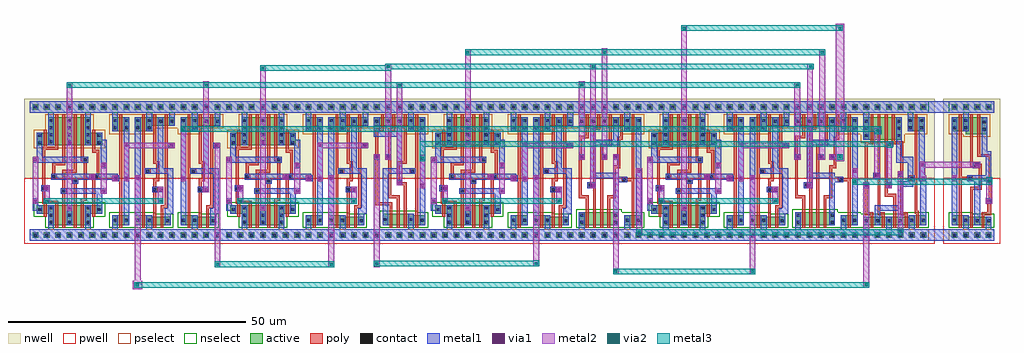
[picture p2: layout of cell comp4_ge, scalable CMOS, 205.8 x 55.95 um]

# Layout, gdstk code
import gdstk
lib = gdstk.Library(unit=1e-6, precision=1e-09)
def R(c, l, rs):  # rectangles x0, y0, x1, y1
    for r in rs: c.add(gdstk.rectangle(r[:2], r[2:], *l))
def A(c, l, x, y, w, h, nx, ny, dx, dy):  # array of equal rectangles
    R(c, l, [(x+i*dx, y+j*dy, x+i*dx+w, y+j*dy+h) for i in range(nx) for j in range(ny)])
contact = (25, 0)
pwell = (41, 0)
nwell = (42, 0)
active = (43, 0)
pselect = (44, 0)
nselect = (45, 0)
poly = (46, 0)
metal1 = (49, 0)
via1 = (50, 0)
metal2 = (51, 0)
via2 = (61, 0)
metal3 = (62, 0)

and2_1x = lib.new_cell('and2_1x')
A(and2_1x, contact, 0.3, -0.3, 0.6, 0.6, 4, 2, 2.4, 27)
R(and2_1x, contact, [(6.6,2.7,7.2,3.3), (0.3,2.85,0.9,3.45), (2.7,2.85,3.3,3.45), (3.9,9.3,4.5,9.9), (2.4,13.2,3,13.8), (7.2,18.6,7.8,19.2), (0.3,22.35,0.9,22.95), (2.7,22.35,3.3,22.95), (5.1,23.7,5.7,24.3), (7.5,23.7,8.1,24.3), (0.3,23.85,0.9,24.45), (2.7,23.85,3.3,24.45)])
A(and2_1x, pwell, -0.9, -1.5, 3, 3, 4, 1, 2.4, 0)
R(and2_1x, pwell, [(-1.8,-1.8,10.2,12), (-1.8,0.3,3,6), (-1.2,0.3,4.8,6), (0.6,0.3,5.4,6), (1.2,0.3,7.2,5.7), (2.7,0.3,8.7,5.7), (4.5,0.3,9.3,5.7), (2.325,0.75,7.575,5.25), (0.75,0.9,5.325,5.4), (4.575,0.9,9.15,5.4), (-1.65,1.35,2.925,5.85), (0.675,1.425,5.25,5.925)])
A(and2_1x, nwell, -0.9, 25.5, 3, 3, 4, 1, 2.4, 0)
R(and2_1x, nwell, [(-1.8,12,10.2,28.8), (-1.8,20.1,3,26.7), (-1.2,20.1,4.8,26.7), (0.6,20.1,5.4,26.7), (0.675,20.1,5.25,24.6), (-1.65,20.55,2.925,25.05), (0.75,21.3,5.325,25.8), (1.2,21.3,7.2,26.7), (3,21.3,7.8,26.7), (3.075,21.3,7.65,25.8), (3.15,21.3,7.65,26.7), (3.225,21.3,7.725,26.7), (3.6,21.3,9.6,26.7), (5.4,21.3,10.2,26.7), (3.15,22.2,7.725,26.7), (5.475,22.2,10.05,26.7)])
A(and2_1x, active, 0, -0.6, 1.2, 1.2, 4, 2, 2.4, 27)
R(and2_1x, active, [(0,2.1,1.2,4.2), (0.6,2.1,3,4.2), (2.4,2.1,3.6,4.2), (3,2.1,5.4,3.9), (4.5,2.1,6.9,3.9), (6.3,2.1,7.5,3.9), (4.125,2.55,5.775,3.45), (2.55,2.7,3.525,3.6), (6.375,2.7,7.35,3.6), (0.15,3.15,1.125,4.05), (2.475,3.225,3.45,4.125), (0,21.9,1.2,24.9), (0.6,21.9,3,24.9), (2.4,21.9,3.6,24.9), (2.475,21.9,3.45,22.8), (0.15,22.35,1.125,23.25), (2.55,23.1,3.525,24), (3,23.1,5.4,24.9), (4.8,23.1,6,24.9), (4.875,23.1,5.85,24), (4.95,23.1,5.85,24.9), (5.025,23.1,5.925,24.9), (5.4,23.1,7.8,24.9), (7.2,23.1,8.4,24.9), (4.95,24,5.925,24.9), (7.275,24,8.25,24.9)])
A(and2_1x, pselect, -0.6, -1.2, 2.4, 2.4, 4, 1, 2.4, 0)
R(and2_1x, pselect, [(-0.6,21.3,1.8,25.5), (0,21.3,3.6,25.5), (1.8,21.3,4.2,25.5), (1.875,21.3,4.05,23.4), (-0.45,21.75,1.725,23.85), (1.95,22.5,4.125,24.6), (2.4,22.5,6,25.5), (4.2,22.5,6.6,25.5), (4.275,22.5,6.45,24.6), (4.35,22.5,6.45,25.5), (4.425,22.5,6.525,25.5), (4.8,22.5,8.4,25.5), (6.6,22.5,9,25.5), (4.35,23.4,6.525,25.5), (6.675,23.4,8.85,25.5)])
A(and2_1x, nselect, -0.6, 25.8, 2.4, 2.4, 4, 1, 2.4, 0)
R(and2_1x, nselect, [(-0.6,1.5,1.8,4.8), (0,1.5,3.6,4.8), (1.8,1.5,4.2,4.8), (2.4,1.5,6,4.5), (3.9,1.5,7.5,4.5), (5.7,1.5,8.1,4.5), (3.525,1.95,6.375,4.05), (1.95,2.1,4.125,4.2), (5.775,2.1,7.95,4.2), (-0.45,2.55,1.725,4.65), (1.875,2.625,4.05,4.725)])
R(and2_1x, poly, [(1.5,1.5,2.1,4.8), (3.9,1.5,4.5,4.5), (5.4,1.5,6,4.5), (3.9,4.2,4.5,9.9), (5.4,4.2,6,6.3), (1.5,4.5,2.1,13.8), (5.4,5.7,6.9,6.3), (6.3,5.7,6.9,19.2), (3.6,9,4.8,10.2), (3.9,9.3,4.5,9.9), (3.9,9.3,4.5,12), (3.9,11.4,5.1,12), (4.5,11.4,5.1,15.6), (2.1,12.9,3.3,14.1), (1.5,13.2,2.1,21.6), (1.5,13.2,3,13.8), (3.9,15,4.5,22.8), (3.9,15,5.1,15.6), (6.9,18.3,8.1,19.5), (6.3,18.6,6.9,22.8), (6.3,18.6,7.8,19.2), (1.5,21.3,2.1,25.5), (3.9,22.5,4.5,25.5), (6.3,22.5,6.9,25.5)])
A(and2_1x, metal1, -0.6, -1.2, 4.8, 2.4, 3, 1, 2.4, 0)
A(and2_1x, metal1, 0, -0.6, 1.2, 1.2, 4, 2, 2.4, 27)
R(and2_1x, metal1, [(-0.6,-1.2,1.8,1.2), (-0.6,-1.2,4.2,1.2), (2.4,-0.6,3.6,3.3), (0,2.1,1.2,4.2), (2.4,2.1,3.6,4.2), (6.3,2.1,7.5,3.9), (6.3,2.7,7.5,5.7), (0,3,1.2,12.6), (6.3,4.5,8.1,5.7), (6.9,4.5,8.1,14.1), (3.6,9,4.8,10.2), (3.6,9,6,10.2), (4.8,9,6,10.2), (0,11.4,1.2,12.6), (0,11.4,1.2,23.1), (2.1,12.9,3.3,14.1), (2.1,12.9,6,14.1), (4.8,12.9,6,24.3), (4.8,12.9,8.1,14.1), (6.9,18.3,8.1,19.5), (6.9,18.3,8.1,19.5), (7.2,18.3,8.4,19.5), (0,21.9,1.2,24.9), (2.4,21.9,3.6,24.9), (4.8,23.1,6,24.9), (7.2,23.1,8.4,24.9), (2.4,23.7,3.6,27.6), (7.2,23.7,8.4,27.6), (-0.6,25.8,1.8,28.2), (-0.6,25.8,4.2,28.2), (1.8,25.8,9,28.2), (0,26.4,1.2,27.6), (4.8,26.4,8.4,27.6), (7.2,26.4,8.4,27.6)])
R(and2_1x, via1, [(5.1,9.3,5.7,9.9), (0.3,11.7,0.9,12.3), (7.5,18.6,8.1,19.2)])
R(and2_1x, metal2, [(4.8,9,6,10.2), (0,11.4,1.2,12.6), (7.2,18.3,8.4,19.5)])

and3_1x = lib.new_cell('and3_1x')
A(and3_1x, contact, 0.3, -0.3, 0.6, 0.6, 5, 2, 2.4, 27)
A(and3_1x, contact, 0.3, 23.7, 0.6, 0.6, 3, 1, 2.4, 0)
R(and3_1x, contact, [(9.9,2.85,10.5,3.45), (2.1,3,2.7,3.6), (7.5,3,8.1,3.6), (5.1,10.8,5.7,11.4), (5.1,10.8,5.7,11.4), (7.8,13.2,8.4,13.8), (0.3,16.2,0.9,16.8), (2.7,16.2,3.3,16.8), (7.5,22.35,8.1,22.95), (9.9,22.35,10.5,22.95), (7.5,23.85,8.1,24.45), (9.9,23.85,10.5,24.45)])
A(and3_1x, pwell, -0.9, -1.5, 3, 3, 5, 1, 2.4, 0)
A(and3_1x, pwell, 0.6, 0.3, 6, 6, 3, 1, 1.5, 0)
R(and3_1x, pwell, [(-1.8,-1.8,12.6,12), (0,0.3,4.8,6.3), (5.4,0.3,10.2,6.3), (6,0.3,12,6), (7.8,0.3,12.6,6), (5.55,0.45,10.125,4.95), (5.475,0.6,10.05,5.1), (0.15,0.75,4.725,5.25), (7.875,0.75,12.45,5.25), (1.725,1.05,6.975,5.55), (3.225,1.05,8.475,5.55)])
A(and3_1x, nwell, -1.8, 21.3, 4.8, 5.4, 3, 1, 2.4, 0)
A(and3_1x, nwell, -1.2, 21.3, 6, 5.4, 3, 1, 2.4, 0)
A(and3_1x, nwell, -0.9, 25.5, 3, 3, 5, 1, 2.4, 0)
R(and3_1x, nwell, [(-1.8,12,12.6,28.8), (5.4,20.1,10.2,26.7), (6,20.1,12,26.7), (7.8,20.1,12.6,26.7), (5.55,21.15,10.125,25.65), (7.875,21.15,12.45,25.65), (0.675,21.3,5.25,25.8), (3.15,21.45,7.725,25.95), (5.475,21.45,10.05,25.95), (-1.65,21.75,2.925,26.25), (0.75,21.75,5.325,26.25), (3.075,21.75,7.65,26.25)])
A(and3_1x, active, 0, -0.6, 1.2, 1.2, 5, 2, 2.4, 27)
A(and3_1x, active, 2.4, 2.1, 2.4, 2.4, 3, 1, 1.5, 0)
A(and3_1x, active, 0, 23.1, 1.2, 1.8, 3, 1, 2.4, 0)
A(and3_1x, active, 0.6, 23.1, 2.4, 1.8, 3, 1, 2.4, 0)
R(and3_1x, active, [(1.8,2.1,3,4.5), (7.2,2.1,8.4,4.5), (7.8,2.1,10.2,4.2), (9.6,2.1,10.8,4.2), (7.35,2.25,8.325,3.15), (7.275,2.4,8.25,3.3), (1.95,2.55,2.925,3.45), (9.675,2.55,10.65,3.45), (3.525,2.85,5.175,3.75), (5.025,2.85,6.675,3.75), (7.2,21.9,8.4,24.9), (7.8,21.9,10.2,24.9), (9.6,21.9,10.8,24.9), (7.35,22.95,8.325,23.85), (9.675,22.95,10.65,23.85), (2.475,23.1,3.45,24), (4.95,23.25,5.925,24.15), (7.275,23.25,8.25,24.15), (0.15,23.55,1.125,24.45), (2.55,23.55,3.525,24.45), (4.875,23.55,5.85,24.45)])
A(and3_1x, pselect, -0.6, -1.2, 2.4, 2.4, 5, 1, 2.4, 0)
A(and3_1x, pselect, -0.6, 22.5, 2.4, 3, 3, 1, 2.4, 0)
A(and3_1x, pselect, 0, 22.5, 3.6, 3, 3, 1, 2.4, 0)
R(and3_1x, pselect, [(6.6,21.3,9,25.5), (7.2,21.3,10.8,25.5), (9,21.3,11.4,25.5), (6.75,22.35,8.925,24.45), (9.075,22.35,11.25,24.45), (1.875,22.5,4.05,24.6), (4.35,22.65,6.525,24.75), (6.675,22.65,8.85,24.75), (-0.45,22.95,1.725,25.05), (1.95,22.95,4.125,25.05), (4.275,22.95,6.45,25.05)])
A(and3_1x, nselect, 1.8, 1.5, 3.6, 3.6, 3, 1, 1.5, 0)
A(and3_1x, nselect, -0.6, 25.8, 2.4, 2.4, 5, 1, 2.4, 0)
R(and3_1x, nselect, [(1.2,1.5,3.6,5.1), (6.6,1.5,9,5.1), (7.2,1.5,10.8,4.8), (9,1.5,11.4,4.8), (6.75,1.65,8.925,3.75), (6.675,1.8,8.85,3.9), (1.35,1.95,3.525,4.05), (9.075,1.95,11.25,4.05), (2.925,2.25,5.775,4.35), (4.425,2.25,7.275,4.35)])
A(and3_1x, poly, 3.3, 1.5, 0.6, 3.6, 3, 1, 1.5, 0)
A(and3_1x, poly, 1.5, 22.5, 0.6, 3, 3, 1, 2.4, 0)
R(and3_1x, poly, [(8.7,1.5,9.3,4.8), (8.7,4.5,9.3,13.8), (3.3,4.8,3.9,6.9), (4.8,4.8,5.4,8.4), (6.3,4.8,6.9,11.1), (0.3,6.3,0.9,16.8), (0.3,6.3,3.9,6.9), (3,7.8,3.6,16.8), (3,7.8,5.4,8.4), (4.8,10.5,6,11.7), (4.8,10.5,6,11.7), (5.1,10.5,6.9,11.1), (5.1,10.5,5.7,11.4), (4.8,10.8,5.7,11.4), (4.8,10.8,5.4,15.6), (5.1,10.8,5.7,11.4), (7.5,12.9,8.7,14.1), (7.8,13.2,9.3,13.8), (8.7,13.2,9.3,21.6), (8.7,13.2,9.3,13.8), (4.8,15,6.9,15.6), (6.3,15,6.9,22.8), (0,15.9,1.2,17.1), (2.4,15.9,3.6,17.1), (0.3,16.2,0.9,22.5), (2.7,16.2,3.6,16.8), (3,16.2,3.6,22.5), (8.7,21,9.3,21.6), (8.7,21.3,9.3,25.5), (0.3,21.9,2.1,22.5), (1.5,21.9,2.1,22.8), (3,21.9,4.5,22.5), (3.9,21.9,4.5,22.8)])
A(and3_1x, metal1, -0.6, -1.2, 4.8, 2.4, 4, 1, 2.4, 0)
A(and3_1x, metal1, 0, -0.6, 1.2, 1.2, 5, 1, 2.4, 0)
A(and3_1x, metal1, 0, 23.1, 1.2, 1.8, 3, 1, 2.4, 0)
A(and3_1x, metal1, 0, 26.4, 1.2, 1.2, 4, 1, 2.4, 0)
R(and3_1x, metal1, [(-0.6,-1.2,1.8,1.2), (-0.6,-1.2,4.2,1.2), (7.2,-0.6,8.4,3.15), (1.8,2.1,3,4.5), (7.2,2.1,8.4,4.5), (9.6,2.1,10.8,4.2), (9.6,3,10.8,4.2), (9.6,3,10.8,11.1), (1.8,3.3,3,14.1), (9.6,9.9,10.8,11.1), (9.6,9.9,10.8,21.15), (4.8,10.5,6,11.7), (4.8,10.5,6,11.7), (4.8,10.5,6,11.7), (4.95,10.65,5.85,11.55), (1.8,12.9,6,14.1), (4.8,12.9,8.7,14.1), (4.8,12.9,6,21.9), (7.5,12.9,8.7,14.1), (0,15.9,1.2,17.1), (0,15.9,1.2,17.1), (2.4,15.9,3.6,17.1), (2.4,15.9,3.6,17.1), (0.15,16.05,1.05,16.95), (2.55,16.05,3.45,16.95), (9.6,19.95,10.8,21.15), (9.6,19.95,10.8,23.1), (0,20.7,1.2,24.3), (0,20.7,6,21.9), (4.8,20.7,6,24.3), (7.2,21.9,8.4,24.9), (9.6,21.9,10.8,24.9), (2.4,23.7,3.6,27.6), (7.2,23.7,8.4,27.6), (-0.6,25.8,1.8,28.2), (-0.6,25.8,4.2,28.2), (1.8,25.8,9,28.2), (6.6,25.8,11.4,28.2), (0,26.4,1.2,27.6), (4.8,26.4,8.4,27.6), (7.2,26.4,8.4,27.6), (9.6,26.4,10.8,27.6), (9.6,26.4,10.8,27.6)])
R(and3_1x, via1, [(9.9,10.2,10.5,10.8), (5.1,10.8,5.7,11.4), (0.3,16.2,0.9,16.8), (2.7,16.2,3.3,16.8)])
R(and3_1x, metal2, [(9.6,9.9,10.8,11.1), (4.8,10.5,6,11.7), (0,15.9,1.2,17.1), (2.4,15.9,3.6,17.1)])

and4_1x = lib.new_cell('and4_1x')
A(and4_1x, contact, 0.3, -0.3, 0.6, 0.6, 6, 2, 2.4, 27)
A(and4_1x, contact, 0.3, 23.7, 0.6, 0.6, 4, 1, 2.4, 0)
R(and4_1x, contact, [(0.3,2.4,0.9,3), (7.5,2.4,8.1,3), (9.9,2.85,10.5,3.45), (12.3,2.85,12.9,3.45), (0.3,3.9,0.9,4.5), (7.5,3.9,8.1,4.5), (2.1,10.2,2.7,10.8), (9.3,11.4,9.9,12), (0.3,16.2,0.9,16.8), (5.1,16.2,5.7,16.8), (7.5,16.2,8.1,16.8), (9.9,22.35,10.5,22.95), (12.3,22.35,12.9,22.95), (9.9,23.85,10.5,24.45), (12.3,23.85,12.9,24.45)])
A(and4_1x, pwell, -0.9, -1.5, 3, 3, 6, 1, 2.4, 0)
A(and4_1x, pwell, -1.2, 0.3, 6, 6.3, 4, 1, 1.5, 0)
R(and4_1x, pwell, [(-1.8,-1.8,15,12), (-1.8,0.3,3,6.6), (5.4,0.3,10.2,6.6), (7.8,0.3,12.6,6), (8.4,0.3,14.4,6), (10.2,0.3,15,6), (7.8,0.9,12.525,5.4), (-1.575,1.05,3,5.55), (-0.075,1.2,5.175,5.7), (1.425,1.2,6.675,5.7), (2.925,1.35,8.175,5.85), (5.175,1.35,9.9,5.85), (10.275,1.35,15,5.85)])
A(and4_1x, nwell, -1.8, 21.3, 4.8, 5.4, 4, 1, 2.4, 0)
A(and4_1x, nwell, -1.2, 21.3, 6, 5.4, 4, 1, 2.4, 0)
A(and4_1x, nwell, -0.9, 25.5, 3, 3, 6, 1, 2.4, 0)
R(and4_1x, nwell, [(-1.8,12,15,28.8), (7.8,20.1,12.6,26.7), (8.4,20.1,14.4,26.7), (10.2,20.1,15,26.7), (10.275,21,14.85,25.5), (7.95,21.15,12.525,25.65), (7.875,21.6,12.45,26.1), (-1.65,21.75,2.925,26.25), (0.675,21.75,5.25,26.25), (3.075,21.75,7.65,26.25), (5.55,21.75,10.125,26.25), (0.75,22.05,5.325,26.55), (3.15,22.05,7.725,26.55), (5.475,22.05,10.05,26.55)])
A(and4_1x, active, 0, -0.6, 1.2, 1.2, 6, 2, 2.4, 27)
A(and4_1x, active, 0.6, 2.1, 2.4, 2.7, 4, 1, 1.5, 0)
A(and4_1x, active, 0, 23.1, 1.2, 1.8, 4, 1, 2.4, 0)
A(and4_1x, active, 0.6, 23.1, 2.4, 1.8, 4, 1, 2.4, 0)
R(and4_1x, active, [(0,2.1,1.2,4.8), (7.2,2.1,8.4,4.8), (9.6,2.1,10.8,4.2), (10.2,2.1,12.6,4.2), (12,2.1,13.2,4.2), (9.6,2.7,10.725,3.6), (0.225,2.85,1.2,3.75), (1.725,3,3.375,3.9), (3.225,3,4.875,3.9), (4.725,3.15,6.375,4.05), (6.975,3.15,8.1,4.05), (12.075,3.15,13.2,4.05), (9.6,21.9,10.8,24.9), (10.2,21.9,12.6,24.9), (12,21.9,13.2,24.9), (12.075,22.8,13.05,23.7), (9.75,22.95,10.725,23.85), (9.675,23.4,10.65,24.3), (0.15,23.55,1.125,24.45), (2.475,23.55,3.45,24.45), (4.875,23.55,5.85,24.45), (7.35,23.55,8.325,24.45), (2.55,23.85,3.525,24.75), (4.95,23.85,5.925,24.75), (7.275,23.85,8.25,24.75)])
A(and4_1x, pselect, -0.6, -1.2, 2.4, 2.4, 6, 1, 2.4, 0)
A(and4_1x, pselect, -0.6, 22.5, 2.4, 3, 4, 1, 2.4, 0)
A(and4_1x, pselect, 0, 22.5, 3.6, 3, 4, 1, 2.4, 0)
R(and4_1x, pselect, [(9,21.3,11.4,25.5), (9.6,21.3,13.2,25.5), (11.4,21.3,13.8,25.5), (11.475,22.2,13.65,24.3), (9.15,22.35,11.325,24.45), (9.075,22.8,11.25,24.9), (-0.45,22.95,1.725,25.05), (1.875,22.95,4.05,25.05), (4.275,22.95,6.45,25.05), (6.75,22.95,8.925,25.05), (1.95,23.25,4.125,25.35), (4.35,23.25,6.525,25.35), (6.675,23.25,8.85,25.35)])
A(and4_1x, nselect, 0, 1.5, 3.6, 3.9, 4, 1, 1.5, 0)
A(and4_1x, nselect, -0.6, 25.8, 2.4, 2.4, 6, 1, 2.4, 0)
R(and4_1x, nselect, [(-0.6,1.5,1.8,5.4), (6.6,1.5,9,5.4), (9,1.5,11.4,4.8), (9.6,1.5,13.2,4.8), (11.4,1.5,13.8,4.8), (9,2.1,11.325,4.2), (-0.375,2.25,1.8,4.35), (1.125,2.4,3.975,4.5), (2.625,2.4,5.475,4.5), (4.125,2.55,6.975,4.65), (6.375,2.55,8.7,4.65), (11.475,2.55,13.8,4.65)])
A(and4_1x, poly, 1.5, 1.5, 0.6, 3.9, 4, 1, 1.5, 0)
A(and4_1x, poly, 1.5, 22.5, 0.6, 3, 4, 1, 2.4, 0)
R(and4_1x, poly, [(11.1,1.5,11.7,4.8), (11.1,4.5,11.7,12), (1.5,5.1,2.1,8.4), (3,5.1,3.6,10.8), (4.5,5.1,5.1,16.8), (6,5.1,6.6,8.4), (0,7.8,2.1,8.4), (0,7.8,0.6,16.8), (6,7.8,7.8,8.4), (7.2,7.8,7.8,14.7), (1.8,9.9,3,11.1), (2.1,10.2,3.6,10.8), (2.1,10.2,3.6,10.8), (3,10.2,3.6,22.8), (9,11.1,10.2,12.3), (9.3,11.4,11.7,12), (11.1,11.4,11.7,21.6), (7.2,14.1,8.7,14.7), (8.1,14.1,8.7,16.8), (0,15.9,1.2,17.1), (4.8,15.9,6,17.1), (7.2,15.9,8.4,17.1), (0,16.2,0.6,21), (0,16.2,0.9,16.8), (4.5,16.2,5.1,19.2), (4.5,16.2,5.7,16.8), (7.5,16.2,8.7,16.8), (8.1,16.2,8.7,20.7), (4.5,18.6,6.9,19.2), (6.3,18.6,6.9,22.8), (8.1,20.1,9.3,20.7), (8.7,20.1,9.3,22.8), (0,20.4,2.1,21), (1.5,20.4,2.1,22.8), (11.1,21.3,11.7,25.5), (3,22.2,4.5,22.8)])
A(and4_1x, metal1, 0, -0.6, 1.2, 1.2, 6, 1, 2.4, 0)
A(and4_1x, metal1, 0, 23.1, 1.2, 1.8, 4, 1, 2.4, 0)
A(and4_1x, metal1, 0, 23.85, 1.2, 3.75, 3, 1, 4.8, 0)
A(and4_1x, metal1, -0.6, 25.8, 4.8, 2.4, 5, 1, 2.4, 0)
A(and4_1x, metal1, 0, 26.4, 1.2, 1.2, 4, 1, 2.4, 0)
R(and4_1x, metal1, [(-0.6,-1.2,1.8,1.2), (-0.6,-1.2,4.2,1.2), (-0.6,-1.2,9,1.2), (-0.6,-1.2,6.6,1.2), (1.8,-1.2,11.4,1.2), (8.85,-1.2,13.8,1.2), (8.85,-1.2,11.4,1.2), (0,-0.6,1.2,3.15), (9.6,-0.6,10.8,3.15), (0.15,-0.45,1.05,0.45), (0,2.1,1.2,4.8), (7.2,2.1,8.4,4.8), (9.6,2.1,10.8,4.2), (12,2.1,13.2,4.2), (12,3.15,13.2,14.1), (7.2,3.75,8.4,12.3), (1.8,9.9,3,11.1), (1.8,9.9,3.6,11.1), (2.4,9.9,3.6,11.1), (7.2,11.1,8.4,13.2), (7.2,11.1,10.2,12.3), (9,11.1,10.2,12.3), (2.4,12,3.6,20.1), (2.4,12,8.4,13.2), (12,12.9,13.2,14.1), (12,12.9,13.2,22.95), (0,15.9,1.2,17.1), (0,15.9,1.2,17.1), (0,15.9,1.2,17.1), (4.8,15.9,6,17.1), (4.8,15.9,6,17.1), (4.8,15.9,6,17.1), (7.2,15.9,8.4,17.1), (7.2,15.9,8.4,17.1), (7.35,16.05,8.25,16.95), (2.4,18.9,8.4,20.1), (2.4,18.9,3.6,24.15), (7.2,18.9,8.4,24.15), (9.6,21.9,10.8,24.9), (12,21.9,13.2,24.9), (-0.6,25.8,1.8,28.2), (9,25.8,11.4,28.2), (0,26.4,1.2,27.6), (4.8,26.4,8.4,27.6), (7.2,26.4,8.4,27.6), (9.6,26.4,10.8,27.6), (9.6,26.4,10.8,27.6), (12,26.4,13.2,27.6), (12,26.4,13.2,27.6), (9.75,26.55,13.05,27.45)])
R(and4_1x, via1, [(2.7,10.2,3.3,10.8), (12.3,13.2,12.9,13.8), (0.3,16.2,0.9,16.8), (5.1,16.2,5.7,16.8), (7.5,16.2,8.1,16.8)])
R(and4_1x, metal2, [(2.4,9.9,3.6,11.1), (12,12.9,13.2,14.1), (0,15.9,1.2,17.1), (4.8,15.9,6,17.1), (7.2,15.9,8.4,17.1)])

inv_1x = lib.new_cell('inv_1x')
R(inv_1x, contact, [(0.3,-0.3,0.9,0.3), (2.7,-0.3,3.3,0.3), (0.3,2.85,0.9,3.45), (2.7,2.85,3.3,3.45), (0.6,11.7,1.2,12.3), (0.3,22.35,0.9,22.95), (2.7,22.35,3.3,22.95), (0.3,23.85,0.9,24.45), (2.7,23.85,3.3,24.45), (0.3,26.7,0.9,27.3), (2.7,26.7,3.3,27.3)])
R(inv_1x, pwell, [(-1.8,-1.8,5.4,12), (-0.9,-1.5,2.1,1.5), (1.5,-1.5,4.5,1.5), (-1.8,0.3,3,6), (-1.2,0.3,4.8,6), (0.6,0.3,5.4,6), (-1.65,0.9,2.925,5.4), (0.675,0.9,5.25,5.4), (0.75,0.9,5.25,6)])
R(inv_1x, nwell, [(-1.8,12,5.4,28.8), (-1.8,20.1,3,26.7), (-1.2,20.1,4.8,26.7), (0.6,20.1,5.4,26.7), (-1.65,21.15,2.925,25.65), (0.675,21.15,5.25,25.65), (-0.9,25.5,2.1,28.5), (1.5,25.5,4.5,28.5)])
R(inv_1x, active, [(0,-0.6,1.2,0.6), (2.4,-0.6,3.6,0.6), (0,2.1,1.2,4.2), (0.6,2.1,3,4.2), (2.4,2.1,3.6,4.2), (0.15,2.7,1.125,3.6), (2.475,2.7,3.45,3.6), (2.55,2.7,3.45,4.2), (0,21.9,1.2,24.9), (0.6,21.9,3,24.9), (2.4,21.9,3.6,24.9), (0.15,22.95,1.125,23.85), (2.475,22.95,3.45,23.85), (0,26.4,1.2,27.6), (2.4,26.4,3.6,27.6)])
R(inv_1x, pselect, [(-0.6,-1.2,1.8,1.2), (1.8,-1.2,4.2,1.2), (-0.6,21.3,1.8,25.5), (0,21.3,3.6,25.5), (1.8,21.3,4.2,25.5), (-0.45,22.35,1.725,24.45), (1.875,22.35,4.05,24.45)])
R(inv_1x, nselect, [(-0.6,1.5,1.8,4.8), (0,1.5,3.6,4.8), (1.8,1.5,4.2,4.8), (-0.45,2.1,1.725,4.2), (1.875,2.1,4.05,4.2), (1.95,2.1,4.05,4.8), (-0.6,25.8,1.8,28.2), (1.8,25.8,4.2,28.2)])
R(inv_1x, poly, [(1.5,1.5,2.1,4.8), (1.5,4.5,2.1,12.3), (0.3,11.4,1.5,12.6), (0.6,11.7,2.1,12.3), (1.5,11.7,2.1,21.6), (1.5,21.3,2.1,25.5)])
R(inv_1x, metal1, [(-0.6,-1.2,4.2,1.2), (-0.6,-1.2,4.2,1.2), (0,-0.6,1.2,0.6), (0,-0.6,1.2,3.15), (2.4,-0.6,3.6,0.6), (0,2.1,1.2,4.2), (2.4,2.1,3.6,4.2), (2.4,3.15,3.6,12.6), (0,11.4,1.2,12.6), (0.3,11.4,1.5,12.6), (0.3,11.4,1.5,12.6), (2.4,11.4,3.6,12.6), (2.4,11.4,3.6,22.95), (2.55,11.55,3.45,12.45), (0,21.9,1.2,24.9), (2.4,21.9,3.6,24.9), (0,23.85,1.2,27.6), (-0.6,25.8,1.8,28.2), (-0.6,25.8,4.2,28.2), (0,26.4,1.2,27.6), (0,26.4,1.2,27.6), (2.4,26.4,3.6,27.6)])
R(inv_1x, via1, [(0.3,11.7,0.9,12.3), (2.7,11.7,3.3,12.3)])
R(inv_1x, metal2, [(0,11.4,1.2,12.6), (2.4,11.4,3.6,12.6)])

xnor2_1x = lib.new_cell('xnor2_1x')
A(xnor2_1x, contact, 0.3, -0.3, 0.6, 0.6, 7, 2, 2.4, 27)
A(xnor2_1x, contact, 3.6, 2.4, 0.6, 0.6, 3, 3, 3.9, 1.5)
A(xnor2_1x, contact, 3.6, 19.35, 0.6, 0.6, 3, 4, 3.9, 1.5)
R(xnor2_1x, contact, [(1.2,5.1,1.8,5.7), (13.8,5.1,14.4,5.7), (6.3,9,6.9,9.6), (2.1,9.6,2.7,10.2), (8.7,11.1,9.3,11.7), (4.2,12,4.8,12.6), (13.2,12,13.8,12.6), (10.8,15.6,11.4,16.2), (1.2,19.2,1.8,19.8), (13.8,19.2,14.4,19.8), (1.2,20.7,1.8,21.3), (13.8,20.7,14.4,21.3)])
A(xnor2_1x, pwell, -0.9, -1.5, 3, 3, 7, 1, 2.4, 0)
A(xnor2_1x, pwell, 1.5, 0.3, 4.8, 7.8, 3, 1, 3.9, 0)
R(xnor2_1x, pwell, [(-1.8,-1.8,17.4,12), (2.1,0.3,8.1,8.1), (3.6,0.3,9.6,8.1), (6,0.3,12,8.1), (7.5,0.3,13.5,8.1), (5.7,1.5,10.2,7.35), (9.225,2.25,14.1,7.05), (3.225,2.4,8.475,6.9), (7.125,2.4,12.375,6.9), (-0.9,2.7,3.9,8.1), (-0.3,2.7,5.7,8.1), (9.9,2.7,15.9,8.1), (11.7,2.7,16.5,8.1), (1.575,2.85,6.225,7.35), (5.475,2.85,10.2,7.35), (5.625,2.85,10.2,7.35), (9.45,2.85,14.025,7.35), (11.775,2.85,16.35,7.35), (1.575,3,6.15,7.5), (-0.75,3.3,3.825,7.8)])
A(xnor2_1x, nwell, 1.5, 17.1, 4.8, 9.6, 3, 1, 3.9, 0)
A(xnor2_1x, nwell, -0.9, 25.5, 3, 3, 7, 1, 2.4, 0)
R(xnor2_1x, nwell, [(-1.8,12,17.4,28.8), (-0.9,17.1,3.9,23.4), (-0.3,17.1,5.7,23.4), (2.1,17.1,8.1,26.7), (3.6,17.1,9.6,26.7), (6,17.1,12,26.7), (7.5,17.1,13.5,26.7), (9.9,17.1,15.9,23.4), (11.7,17.1,16.5,23.4), (1.575,17.811,6.15,22.311), (1.575,17.811,6.225,22.311), (-0.75,17.85,3.825,22.35), (11.775,17.85,16.35,22.35), (9.45,18.9,14.025,23.4), (5.625,19.65,10.2,24.15), (7.125,19.95,12.375,24.45), (9.375,20.1,13.95,24.6), (5.475,20.25,10.125,24.75), (3.225,20.55,8.475,25.05)])
A(xnor2_1x, active, 0, -0.6, 1.2, 1.2, 7, 2, 2.4, 27)
A(xnor2_1x, active, 3.3, 2.1, 1.2, 4.2, 3, 1, 3.9, 0)
A(xnor2_1x, active, 3.3, 18.9, 1.2, 6, 3, 1, 3.9, 0)
R(xnor2_1x, active, [(3.9,2.1,6.3,6.3), (5.4,2.1,7.8,6.3), (7.8,2.1,10.2,6.3), (9.3,2.1,11.7,6.3), (7.5,3.3,8.4,5.55), (11.025,4.05,12.3,5.25), (5.025,4.2,6.675,5.1), (8.925,4.2,10.575,5.1), (0.9,4.5,2.1,6.3), (1.5,4.5,3.9,6.3), (11.7,4.5,14.1,6.3), (13.5,4.5,14.7,6.3), (3.375,4.65,4.425,5.55), (7.275,4.65,8.4,5.55), (7.425,4.65,8.4,5.55), (11.25,4.65,12.225,5.55), (13.575,4.65,14.55,5.55), (3.375,4.8,4.35,5.7), (1.05,5.1,2.025,6), (0.9,18.9,2.1,21.6), (1.5,18.9,3.9,21.6), (3.9,18.9,6.3,24.9), (5.4,18.9,7.8,24.9), (7.8,18.9,10.2,24.9), (9.3,18.9,11.7,24.9), (11.7,18.9,14.1,21.6), (13.5,18.9,14.7,21.6), (3.375,19.611,4.35,20.511), (3.375,19.611,4.425,20.511), (1.05,19.65,2.025,20.55), (13.575,19.65,14.55,20.55), (11.25,20.7,12.225,21.6), (7.425,21.45,8.4,22.35), (8.925,21.75,10.575,22.65), (11.175,21.9,12.15,22.8), (7.275,22.05,8.325,22.95), (5.025,22.35,6.675,23.25)])
A(xnor2_1x, pselect, -0.6, -1.2, 2.4, 2.4, 7, 1, 2.4, 0)
A(xnor2_1x, pselect, 2.7, 18.3, 2.4, 7.2, 3, 1, 3.9, 0)
R(xnor2_1x, pselect, [(0.3,18.3,2.7,22.2), (0.9,18.3,4.5,22.2), (3.3,18.3,6.9,25.5), (4.8,18.3,8.4,25.5), (7.2,18.3,10.8,25.5), (8.7,18.3,12.3,25.5), (11.1,18.3,14.7,22.2), (12.9,18.3,15.3,22.2), (2.775,19.011,4.95,21.111), (2.775,19.011,5.025,21.111), (0.45,19.05,2.625,21.15), (12.975,19.05,15.15,21.15), (10.65,20.1,12.825,22.2), (6.825,20.85,9,22.95), (8.325,21.15,11.175,23.25), (10.575,21.3,12.75,23.4), (6.675,21.45,8.925,23.55), (4.425,21.75,7.275,23.85)])
A(xnor2_1x, nselect, 2.7, 1.5, 2.4, 5.4, 3, 1, 3.9, 0)
A(xnor2_1x, nselect, -0.6, 25.8, 2.4, 2.4, 7, 1, 2.4, 0)
R(xnor2_1x, nselect, [(3.3,1.5,6.9,6.9), (4.8,1.5,8.4,6.9), (7.2,1.5,10.8,6.9), (8.7,1.5,12.3,6.9), (6.9,2.7,9,6.15), (10.425,3.45,12.9,5.85), (4.425,3.6,7.275,5.7), (8.325,3.6,11.175,5.7), (0.3,3.9,2.7,6.9), (0.9,3.9,4.5,6.9), (11.1,3.9,14.7,6.9), (12.9,3.9,15.3,6.9), (2.775,4.05,5.025,6.15), (6.675,4.05,9,6.15), (6.825,4.05,9,6.15), (10.65,4.05,12.825,6.15), (12.975,4.05,15.15,6.15), (2.775,4.2,4.95,6.3), (0.45,4.5,2.625,6.6)])
R(xnor2_1x, poly, [(4.8,1.5,5.4,6.9), (6.3,1.5,6.9,6.9), (8.7,1.5,9.3,6.9), (10.2,1.5,10.8,6.9), (2.4,3.9,3,6.9), (12.6,3.9,13.2,6.9), (2.1,6.6,3,7.2), (2.1,6.6,2.7,10.2), (2.4,6.6,5.4,7.2), (6.3,6.6,6.9,9.6), (8.7,6.6,9.3,11.7), (10.2,6.6,10.8,7.8), (12.6,6.6,13.2,12.75), (10.2,7.2,11.4,7.8), (10.8,7.2,11.4,16.2), (6,8.7,7.2,9.9), (6.3,9,6.9,9.6), (6.3,9,6.9,13.8), (1.8,9.3,3,10.5), (2.1,9.6,3,10.2), (2.1,9.6,2.7,18.6), (8.4,10.8,9.6,12), (3.9,11.7,5.1,12.9), (12.9,11.7,14.1,12.9), (4.2,12,4.8,15.3), (13.2,12,13.8,12.9), (12.6,12.15,13.8,12.75), (13.2,12.3,14.1,12.9), (13.5,12.3,14.1,18), (6.3,13.2,9.3,13.8), (8.7,13.2,9.3,18.6), (4.2,14.7,6.9,15.3), (6.3,14.7,6.9,18.6), (10.5,15.3,11.7,16.5), (10.2,15.6,10.8,18.6), (10.2,15.6,11.4,16.2), (10.2,15.6,10.8,16.2), (12.6,17.4,13.2,18.6), (12.6,17.4,14.1,18), (13.2,17.4,14.1,18), (2.1,18,3,18.6), (2.4,18,5.4,18.6), (2.4,18.3,3,22.2), (4.8,18.3,5.4,25.5), (6.3,18.3,6.9,25.5), (8.7,18.3,9.3,25.5), (10.2,18.3,10.8,25.5), (12.6,18.3,13.2,22.2)])
A(xnor2_1x, metal1, -0.6, -1.2, 4.8, 2.4, 4, 1, 2.4, 0)
A(xnor2_1x, metal1, 0, -0.6, 1.2, 1.2, 7, 1, 2.4, 0)
A(xnor2_1x, metal1, 3.3, 2.1, 1.2, 4.2, 3, 1, 3.9, 0)
A(xnor2_1x, metal1, 3.3, 18.9, 1.2, 6, 3, 1, 3.9, 0)
A(xnor2_1x, metal1, 6.6, 25.8, 4.8, 2.4, 3, 1, 2.4, 0)
A(xnor2_1x, metal1, 0, 26.4, 1.2, 1.2, 4, 1, 2.4, 0)
R(xnor2_1x, metal1, [(-0.6,-1.2,1.8,1.2), (-0.6,-1.2,4.2,1.2), (1.8,-1.2,5.1,1.2), (9,-1.2,12.9,1.2), (10.5,-1.2,13.8,1.2), (11.4,-1.2,16.2,1.2), (3.3,-0.6,4.5,3.3), (11.1,-0.6,12.3,3.3), (0.9,4.5,2.1,6.3), (13.5,4.5,14.7,6.3), (0,5.1,1.2,7.8), (0,5.1,2.1,6.3), (7.2,5.1,8.4,6.3), (7.2,5.1,8.4,6.3), (13.5,5.1,14.7,9.9), (0,6.6,1.2,7.8), (6,8.7,7.2,9.9), (6,8.7,14.7,9.9), (13.5,8.7,15.6,9.9), (14.4,8.7,15.6,9.9), (1.8,9.3,3,10.5), (1.8,9.3,3,10.5), (1.8,9.3,3.6,10.5), (2.4,9.3,3.6,10.5), (8.4,10.8,9.6,12), (8.4,10.8,9.6,12.9), (3.9,11.7,5.1,12.9), (3.9,11.7,9.6,12.9), (8.4,11.7,13.2,12.9), (12,11.7,13.2,12.9), (12,11.7,14.1,12.9), (12.9,11.7,14.1,12.9), (14.4,14.1,15.6,20.1), (14.4,14.1,15.6,15.3), (0,15.3,1.2,16.5), (0,15.3,2.1,16.5), (0.9,15.3,11.7,16.5), (0.9,15.3,2.1,20.1), (10.5,15.3,11.7,16.5), (0.9,18.9,2.1,21.6), (7.2,18.9,8.4,20.1), (7.2,18.9,8.4,20.1), (13.5,18.9,14.7,21.6), (13.5,18.9,15.6,20.1), (3.3,23.7,4.5,27.6), (11.1,23.7,12.3,27.6), (-0.6,25.8,1.8,28.2), (-0.6,25.8,4.2,28.2), (1.8,25.8,9,28.2), (1.8,25.8,5.1,28.2), (10.5,25.8,13.8,28.2), (0,26.4,1.2,27.6), (4.8,26.4,8.4,27.6), (7.2,26.4,8.4,27.6), (9.6,26.4,10.8,27.6), (9.6,26.4,10.8,27.6), (12,26.4,13.2,27.6), (12,26.4,13.2,27.6), (14.4,26.4,15.6,27.6)])
R(xnor2_1x, via1, [(7.5,5.4,8.1,6), (0.3,6.9,0.9,7.5), (14.7,9,15.3,9.6), (2.7,9.6,3.3,10.2), (12.3,12,12.9,12.6), (14.7,14.4,15.3,15), (0.3,15.6,0.9,16.2), (7.5,19.2,8.1,19.8)])
R(xnor2_1x, metal2, [(7.2,5.1,8.4,6.3), (7.2,5.1,8.4,13.2), (0,6.6,1.2,7.8), (0,6.6,1.2,16.5), (14.4,8.7,15.6,9.9), (14.4,8.7,15.6,15.3), (2.4,9.3,3.6,10.5), (12,11.7,13.2,12.9), (7.2,12,8.4,20.1), (14.4,14.1,15.6,15.3), (0,15.3,1.2,16.5), (7.2,18.9,8.4,20.1)])

bloquesito = lib.new_cell('bloquesito')
R(bloquesito, metal1, [(-17.1,-15.6,2.1,-13.2), (-17.1,-15.6,6.9,-13.2), (0.3,-3,1.5,-1.5), (-4.5,-2.7,1.5,-1.5), (2.7,3.9,3.9,5.1), (-17.1,11.4,2.1,13.8), (-17.1,11.4,6.9,13.8)])
R(bloquesito, via1, [(3,4.2,3.6,4.8)])
R(bloquesito, metal2, [(-14.1,-7.8,-12.9,-6.6), (-14.1,-7.8,-12.9,-3.9), (9.9,-7.8,11.1,-6.6), (9.9,-7.8,11.1,-4.2), (2.7,-3,3.9,5.1), (2.7,3.9,3.9,5.1), (2.7,3.9,13.5,5.1)])
R(bloquesito, via2, [(-13.8,-7.5,-13.2,-6.9), (10.2,-7.5,10.8,-6.9)])
R(bloquesito, metal3, [(-14.1,-7.8,-12.9,-6.6), (-14.1,-7.8,11.1,-6.6), (9.9,-7.8,11.1,-6.6)])
bloquesito.add(gdstk.Reference(and2_1x, (5.1,-14.4)))
bloquesito.add(gdstk.Reference(inv_1x, (0.3,-14.4)))
bloquesito.add(gdstk.Reference(xnor2_1x, (-16.5,-14.4)))

or2_1x = lib.new_cell('or2_1x')
A(or2_1x, contact, 0.3, -0.3, 0.6, 0.6, 4, 2, 2.4, 27)
R(or2_1x, contact, [(5.1,2.7,5.7,3.3), (7.5,2.7,8.1,3.3), (0.3,2.85,0.9,3.45), (2.7,2.85,3.3,3.45), (7.5,6.9,8.1,7.5), (3.6,11.7,4.2,12.3), (4.8,14.4,5.4,15), (6.6,22.05,7.2,22.65), (0.3,22.35,0.9,22.95), (2.7,22.35,3.3,22.95), (6.6,23.55,7.2,24.15), (0.3,23.85,0.9,24.45), (2.7,23.85,3.3,24.45)])
A(or2_1x, pwell, -0.9, -1.5, 3, 3, 4, 1, 2.4, 0)
R(or2_1x, pwell, [(-1.8,-1.8,10.2,12), (-1.8,0.3,3,6), (-1.2,0.3,4.8,6), (0.6,0.3,5.4,6), (1.2,0.3,7.2,5.7), (3,0.3,7.8,5.7), (3.6,0.3,9.6,5.7), (5.4,0.3,10.2,5.7), (3.15,0.45,7.725,4.95), (3.075,0.75,7.65,5.25), (5.475,1.05,10.05,5.55), (0.75,1.125,5.325,5.625), (0.675,1.275,5.25,5.775), (-1.65,1.35,2.925,5.85)])
A(or2_1x, nwell, -0.9, 25.5, 3, 3, 4, 1, 2.4, 0)
R(or2_1x, nwell, [(-1.8,12,10.2,28.8), (1.2,19.5,7.2,26.7), (2.7,19.5,8.7,26.7), (4.5,19.5,9.3,26.7), (4.575,19.65,9.15,24.15), (-1.8,20.1,3,26.7), (-1.65,20.1,2.925,24.6), (-1.2,20.1,4.8,26.7), (0.6,20.1,5.4,26.7), (0.675,20.25,5.25,24.75), (2.25,20.4,7.65,24.9), (0.75,20.85,5.325,25.35)])
A(or2_1x, active, 0, -0.6, 1.2, 1.2, 4, 2, 2.4, 27)
R(or2_1x, active, [(0,2.1,1.2,4.2), (0.6,2.1,3,4.2), (2.4,2.1,3.6,4.2), (3,2.1,5.4,3.9), (4.8,2.1,6,3.9), (5.4,2.1,7.8,3.9), (7.2,2.1,8.4,3.9), (4.95,2.25,5.925,3.15), (4.875,2.55,5.85,3.45), (7.275,2.85,8.25,3.75), (2.55,2.925,3.525,3.825), (2.475,3.075,3.45,3.975), (0.15,3.15,1.125,4.05), (3,21.3,5.4,24.9), (4.5,21.3,6.9,24.9), (6.3,21.3,7.5,24.9), (6.375,21.45,7.35,22.35), (0,21.9,1.2,24.9), (0.15,21.9,1.125,22.8), (0.6,21.9,3,24.9), (2.4,21.9,3.6,24.9), (2.475,22.05,3.45,22.95), (4.05,22.2,5.85,23.1), (2.55,22.65,3.525,23.55)])
A(or2_1x, pselect, -0.6, -1.2, 2.4, 2.4, 4, 1, 2.4, 0)
R(or2_1x, pselect, [(2.4,20.7,6,25.5), (3.9,20.7,7.5,25.5), (5.7,20.7,8.1,25.5), (5.775,20.85,7.95,22.95), (-0.6,21.3,1.8,25.5), (-0.45,21.3,1.725,23.4), (0,21.3,3.6,25.5), (1.8,21.3,4.2,25.5), (1.875,21.45,4.05,23.55), (3.45,21.6,6.45,23.7), (1.95,22.05,4.125,24.15)])
A(or2_1x, nselect, -0.6, 25.8, 2.4, 2.4, 4, 1, 2.4, 0)
R(or2_1x, nselect, [(-0.6,1.5,1.8,4.8), (0,1.5,3.6,4.8), (1.8,1.5,4.2,4.8), (2.4,1.5,6,4.5), (4.2,1.5,6.6,4.5), (4.8,1.5,8.4,4.5), (6.6,1.5,9,4.5), (4.35,1.65,6.525,3.75), (4.275,1.95,6.45,4.05), (6.675,2.25,8.85,4.35), (1.95,2.325,4.125,4.425), (1.875,2.475,4.05,4.575), (-0.45,2.55,1.725,4.65)])
R(or2_1x, poly, [(1.5,1.5,2.1,4.8), (3.9,1.5,4.5,4.5), (6.3,1.5,6.9,4.5), (3.9,4.2,4.5,10.2), (6.3,4.2,8.4,4.8), (7.5,4.2,8.1,7.5), (7.5,4.2,8.4,4.8), (7.8,4.2,8.4,17.1), (1.5,4.5,2.1,12.3), (7.2,6.6,8.4,7.8), (3.9,9.6,6.3,10.2), (5.7,9.6,6.3,15), (3.3,11.4,4.5,12.6), (1.5,11.7,2.1,21.6), (1.5,11.7,4.2,12.3), (4.5,14.1,5.7,15.3), (3.9,14.4,4.5,21), (3.9,14.4,5.4,15), (3.9,14.4,6.3,15), (4.8,14.4,6.3,15), (5.4,16.5,8.4,17.1), (5.4,16.5,6,21), (3.9,20.7,4.5,25.5), (5.4,20.7,6,25.5), (1.5,21.3,2.1,25.5)])
A(or2_1x, metal1, -0.6, -1.2, 4.8, 2.4, 3, 1, 2.4, 0)
A(or2_1x, metal1, 0, -0.6, 1.2, 1.2, 4, 2, 2.4, 27)
R(or2_1x, metal1, [(-0.6,-1.2,1.8,1.2), (-0.6,-1.2,4.2,1.2), (2.4,-0.6,3.6,3.825), (7.2,-0.6,8.4,3.3), (0,2.1,1.2,4.2), (2.4,2.1,3.6,4.2), (4.8,2.1,6,3.9), (7.2,2.1,8.4,3.9), (4.8,2.7,6,12.6), (0,3.075,1.2,12.6), (7.2,6.6,8.4,7.8), (7.2,6.6,8.4,7.8), (7.2,6.6,8.4,7.8), (0,11.4,1.2,12.6), (0,11.4,1.2,22.95), (3.3,11.4,4.5,12.6), (3.3,11.4,6,12.6), (4.8,11.4,8.4,12.6), (7.2,11.4,8.4,17.7), (4.5,14.1,5.7,15.3), (4.5,14.1,6,15.3), (4.8,14.1,6,15.3), (6.3,16.5,8.4,17.7), (6.3,16.5,7.5,22.5), (6.3,21.3,7.5,24.9), (0,21.9,1.2,24.9), (2.4,21.9,3.6,24.9), (2.4,23.7,3.6,27.6), (-0.6,25.8,1.8,28.2), (-0.6,25.8,4.2,28.2), (1.8,25.8,9,28.2), (0,26.4,1.2,27.6), (4.8,26.4,8.4,27.6), (7.2,26.4,8.4,27.6)])
R(or2_1x, via1, [(7.5,6.9,8.1,7.5), (0.3,11.7,0.9,12.3), (5.1,14.4,5.7,15)])
R(or2_1x, metal2, [(7.2,6.6,8.4,7.8), (0,11.4,1.2,12.6), (4.8,14.1,6,15.3)])

or4_1x = lib.new_cell('or4_1x')
A(or4_1x, contact, -0.3, -0.3, 0.6, 0.6, 6, 2, 2.4, 27)
A(or4_1x, contact, -0.3, 2.7, 0.6, 0.6, 4, 1, 2.4, 0)
A(or4_1x, contact, -0.3, 20.7, 0.6, 0.6, 1, 3, 0, 1.5)
A(or4_1x, contact, 6.6, 20.7, 0.6, 0.6, 1, 3, 0, 1.5)
R(or4_1x, contact, [(9.3,2.85,9.9,3.45), (11.7,2.85,12.3,3.45), (-0.3,10.2,0.3,10.8), (4.5,10.2,5.1,10.8), (9.3,11.7,9.9,12.3), (1.8,12.3,2.4,12.9), (6.9,12.6,7.5,13.2), (9,22.35,9.6,22.95), (11.4,22.35,12,22.95), (9,23.85,9.6,24.45), (11.4,23.85,12,24.45)])
A(or4_1x, pwell, -1.5, -1.5, 3, 3, 6, 1, 2.4, 0)
A(or4_1x, pwell, -2.4, 0.3, 4.8, 5.4, 4, 1, 2.4, 0)
A(or4_1x, pwell, -1.8, 0.3, 6, 5.4, 4, 1, 2.4, 0)
R(or4_1x, pwell, [(-2.4,-1.8,14.4,12), (-2.25,0.3,2.325,4.8), (7.2,0.3,12,6), (7.8,0.3,13.8,6), (9.6,0.3,14.4,6), (2.55,0.45,7.125,4.95), (0.075,0.75,4.65,5.25), (0.15,0.75,4.725,5.25), (2.475,0.75,7.05,5.25), (7.275,0.9,11.85,5.4), (4.875,1.2,9.45,5.7), (4.95,1.2,9.525,5.7), (7.35,1.275,11.925,5.775), (9.675,1.35,14.25,5.85)])
A(or4_1x, nwell, -1.8, 18.3, 6, 8.4, 4, 1, 1.5, 0)
A(or4_1x, nwell, -0.75, 20.1, 5.4, 4.5, 3, 1, 1.5, 0)
A(or4_1x, nwell, -1.5, 25.5, 3, 3, 6, 1, 2.4, 0)
R(or4_1x, nwell, [(-2.4,12,14.4,28.8), (-2.4,18.3,2.4,26.7), (4.5,18.3,9.3,26.7), (4.575,18.6,9.075,23.1), (6.9,20.1,11.7,26.7), (7.5,20.1,13.5,26.7), (9.3,20.1,14.1,26.7), (-2.175,20.4,2.325,24.9), (7.05,20.55,11.625,25.05), (9.375,20.55,13.95,25.05)])
A(or4_1x, active, -0.6, -0.6, 1.2, 1.2, 6, 2, 2.4, 27)
A(or4_1x, active, -0.6, 2.1, 1.2, 1.8, 4, 1, 2.4, 0)
A(or4_1x, active, 0, 2.1, 2.4, 1.8, 4, 1, 2.4, 0)
A(or4_1x, active, 0, 20.1, 2.4, 4.8, 4, 1, 1.5, 0)
A(or4_1x, active, 1.05, 21.9, 1.8, 0.9, 3, 1, 1.5, 0)
R(or4_1x, active, [(-0.45,2.1,0.525,3), (9,2.1,10.2,4.2), (9.6,2.1,12,4.2), (11.4,2.1,12.6,4.2), (4.35,2.25,5.325,3.15), (1.875,2.55,2.85,3.45), (1.95,2.55,2.925,3.45), (4.275,2.55,5.25,3.45), (9.075,2.7,10.05,3.6), (6.675,3,7.65,3.9), (6.75,3,7.725,3.9), (9.15,3.075,10.125,3.975), (11.475,3.15,12.45,4.05), (-0.6,20.1,0.6,24.9), (6.3,20.1,7.5,24.9), (6.375,20.4,7.275,21.3), (8.7,21.9,9.9,24.9), (9.3,21.9,11.7,24.9), (11.1,21.9,12.3,24.9), (-0.375,22.2,0.525,23.1), (8.85,22.35,9.825,23.25), (11.175,22.35,12.15,23.25)])
A(or4_1x, pselect, -1.2, -1.2, 2.4, 2.4, 6, 1, 2.4, 0)
A(or4_1x, pselect, -0.6, 19.5, 3.6, 6, 4, 1, 1.5, 0)
A(or4_1x, pselect, 0.45, 21.3, 3, 2.1, 3, 1, 1.5, 0)
R(or4_1x, pselect, [(-1.2,19.5,1.2,25.5), (5.7,19.5,8.1,25.5), (5.775,19.8,7.875,21.9), (8.1,21.3,10.5,25.5), (8.7,21.3,12.3,25.5), (10.5,21.3,12.9,25.5), (-0.975,21.6,1.125,23.7), (8.25,21.75,10.425,23.85), (10.575,21.75,12.75,23.85)])
A(or4_1x, nselect, -1.2, 1.5, 2.4, 3, 4, 1, 2.4, 0)
A(or4_1x, nselect, -0.6, 1.5, 3.6, 3, 4, 1, 2.4, 0)
A(or4_1x, nselect, -1.2, 25.8, 2.4, 2.4, 6, 1, 2.4, 0)
R(or4_1x, nselect, [(-1.05,1.5,1.125,3.6), (8.4,1.5,10.8,4.8), (9,1.5,12.6,4.8), (10.8,1.5,13.2,4.8), (3.75,1.65,5.925,3.75), (1.275,1.95,3.45,4.05), (1.35,1.95,3.525,4.05), (3.675,1.95,5.85,4.05), (8.475,2.1,10.65,4.2), (6.075,2.4,8.25,4.5), (6.15,2.4,8.325,4.5), (8.55,2.475,10.725,4.575), (10.875,2.55,13.05,4.65)])
A(or4_1x, poly, 0.9, 1.5, 0.6, 3, 4, 1, 2.4, 0)
A(or4_1x, poly, 0.9, 19.5, 0.6, 6, 4, 1, 1.5, 0)
R(or4_1x, poly, [(10.5,1.5,11.1,4.8), (-0.3,4.2,1.5,4.8), (-0.3,4.2,0.3,10.8), (2.4,4.2,3.9,4.8), (2.4,4.2,3,12.6), (5.7,4.2,6.3,8.7), (7.2,4.2,8.7,4.8), (7.2,4.2,7.8,13.2), (10.2,4.5,10.8,12.3), (10.2,4.5,11.1,5.1), (3.9,8.1,6.3,8.7), (3.9,8.1,4.5,10.8), (-0.6,9.9,0.6,11.1), (4.2,9.9,5.4,11.1), (-0.3,10.2,0.3,19.8), (-0.3,10.2,0.45,10.8), (3.9,10.2,4.5,19.8), (3.9,10.2,5.1,10.8), (9,11.4,10.2,12.6), (9.3,11.7,10.8,12.3), (10.2,11.7,10.8,21.6), (1.5,12,2.7,13.2), (1.8,12,2.4,12.9), (1.8,12,3,12.6), (2.4,12,3,19.8), (6.6,12.3,7.8,13.5), (6.75,12.6,7.8,13.2), (7.2,12.6,7.8,19.8), (-0.3,19.2,1.5,19.8), (5.4,19.2,7.8,19.8), (10.2,21.3,10.8,25.5)])
A(or4_1x, metal1, -1.2, -1.2, 4.8, 2.4, 5, 1, 2.4, 0)
A(or4_1x, metal1, -0.6, -0.6, 1.2, 1.2, 6, 1, 2.4, 0)
A(or4_1x, metal1, -0.6, 2.1, 1.2, 1.8, 4, 1, 2.4, 0)
A(or4_1x, metal1, -0.6, 26.4, 1.2, 1.2, 4, 1, 2.4, 0)
A(or4_1x, metal1, 6.6, 26.4, 1.2, 1.2, 3, 1, 2.4, 0)
R(or4_1x, metal1, [(-1.2,-1.2,3.6,1.2), (8.4,-1.2,10.8,1.2), (-0.6,-0.6,0.6,3.15), (4.2,-0.6,5.4,3.6), (9,-0.6,10.2,4.2), (9,2.1,10.2,4.2), (11.4,2.1,12.6,4.2), (1.8,2.85,3,6.3), (6.6,2.85,7.8,6.3), (11.4,3.075,12.6,12.6), (1.8,5.1,7.8,6.3), (6.6,5.1,7.8,11.4), (-0.6,9.9,0.6,11.1), (-0.6,9.9,0.6,11.1), (4.2,9.9,5.4,11.1), (4.2,9.9,5.4,11.1), (-0.45,10.05,0.6,10.95), (4.35,10.05,5.25,10.95), (6.6,10.2,9.9,11.4), (8.7,10.2,9.9,12.6), (8.7,11.4,10.2,12.6), (8.7,11.4,9.9,16.5), (9,11.4,10.2,12.6), (11.1,11.4,12.6,12.6), (11.1,11.4,12.3,22.95), (11.4,11.4,12.6,12.6), (1.5,12,2.7,13.2), (1.5,12,2.7,13.2), (1.8,12,3,13.2), (6.6,12.3,7.8,13.5), (6.6,12.3,7.8,13.5), (6.6,12.45,7.65,13.35), (6.3,15.3,9.9,16.5), (6.3,15.3,7.5,21.3), (-0.6,20.1,0.6,24.9), (6.3,20.1,7.5,24.9), (-0.6,20.85,0.6,27.6), (8.7,21.9,9.9,24.9), (11.1,21.9,12.3,24.9), (8.7,23.1,9.9,27.6), (-1.2,25.8,1.2,28.2), (-1.2,25.8,3.6,28.2), (1.2,25.8,8.4,28.2), (6,25.8,10.5,28.2), (8.1,25.8,10.5,28.2), (8.1,25.8,13.2,28.2), (-0.6,26.4,0.6,27.6), (4.2,26.4,7.8,27.6), (8.7,26.4,10.2,27.6)])
R(or4_1x, via1, [(-0.3,10.2,0.3,10.8), (4.5,10.2,5.1,10.8), (11.7,11.7,12.3,12.3), (2.1,12.3,2.7,12.9), (6.9,12.6,7.5,13.2)])
R(or4_1x, metal2, [(-0.6,9.9,0.6,11.1), (4.2,9.9,5.4,11.1), (11.4,11.4,12.6,12.6), (1.8,12,3,13.2), (6.6,12.3,7.8,13.5)])

comp4_ge = lib.new_cell('comp4_ge')
R(comp4_ge, metal1, [(-24,-17.4,9.6,-15), (-24,-17.4,19.2,-15), (16.8,-17.4,50.4,-15), (48,-17.4,62.4,-15), (60,-17.4,93.6,-15), (91.2,-17.4,108,-15), (105.6,-17.4,139.2,-15), (136.8,-17.4,153.6,-15), (151.2,-17.4,172.2,-15), (163.65,-1.95,164.85,-0.75), (-24,9.6,9.6,12), (-24,9.6,19.2,12), (16.8,9.6,50.4,12), (48,9.6,62.4,12), (60,9.6,93.6,12), (91.2,9.6,108,12), (105.6,9.6,139.2,12), (136.8,9.6,153.6,12), (151.2,9.6,172.2,12)])
R(comp4_ge, via1, [(163.95,-1.65,164.55,-1.05)])
R(comp4_ge, metal2, [(-2.25,-27.6,-0.3,-25.8), (-1.8,-27.45,-0.6,-26.1), (-1.95,-27.3,-0.75,-26.1), (-1.8,-27.3,-0.6,-3.6), (151.8,-27.3,153,-26.1), (151.8,-27.3,153,-5.1), (99,-24.45,100.2,-23.25), (99,-24.45,100.2,0.9), (127.8,-24.45,129,-23.25), (127.8,-24.45,129,-23.25), (127.8,-24.45,129,-3.6), (15,-22.95,16.2,-21.75), (15,-22.95,16.2,-21.6), (39,-22.95,40.2,-21.75), (39,-22.95,40.2,-3.6), (48.6,-22.95,49.8,-21.6), (15,-22.8,16.2,3.3), (48.6,-22.8,49.8,-21.6), (48.6,-22.8,49.8,0.9), (82.2,-22.8,83.4,-21.6), (82.2,-22.65,83.4,-21.45), (82.2,-22.65,83.4,-3.6), (103.95,-16.2,105.15,-15), (103.95,-16.2,105.15,-2.1), (159,-16.05,160.2,-14.85), (159,-16.05,160.2,-2.7), (177.75,-9.6,178.95,-4.2), (12.6,-7.2,13.8,16.05), (58.2,-6.3,59.4,0.75), (94.2,-6.3,95.4,19.65), (139.95,-6.3,141.15,19.95), (156.6,-6.3,157.8,3.45), (53.4,-5.7,54.6,16.05), (149.4,-5.55,150.6,-4.35), (149.4,-5.55,150.6,-2.1), (177.75,-5.4,178.95,-4.2), (7.8,-4.8,9,6.75), (163.65,-4.8,164.85,-0.75), (-16.2,-4.2,-15,16.05), (24.6,-4.2,25.8,19.5), (67.8,-4.2,69,22.95), (113.4,-4.2,114.6,27.9), (154.05,-4.2,155.25,6.3), (163.65,-1.95,164.85,-0.75), (163.65,-1.95,176.4,-0.75), (58.2,-0.6,59.4,0.6), (145.95,-0.6,147.75,28.2), (51,-0.3,52.2,19.95), (91.8,-0.3,93,16.2), (96.6,-0.3,97.8,22.95), (137.25,-0.3,138.45,16.05), (142.5,-0.3,143.7,22.95), (144.6,-0.3,147.45,0.9), (146.25,-0.3,147.45,0.9), (156.75,2.25,157.95,3.45), (154.2,5.1,155.4,6.3), (7.8,5.55,9,6.75), (-16.2,14.85,-15,16.05), (-16.2,14.85,-15,16.05), (12.6,14.85,13.8,16.05), (12.6,14.85,13.8,16.2), (53.4,14.85,54.6,16.05), (91.8,14.85,93,16.05), (91.8,14.85,93,16.2), (137.25,14.85,138.45,16.05), (24.6,18.3,25.8,19.65), (24.6,18.45,25.8,19.65), (94.2,18.45,95.4,19.95), (51,18.75,52.2,19.95), (51,18.75,52.2,19.95), (94.2,18.75,95.4,19.95), (140.1,18.75,141.3,19.95), (67.8,21.75,69,22.95), (67.8,21.75,69,22.95), (96.6,21.75,97.8,22.95), (96.6,21.75,97.8,23.25), (142.5,21.75,143.7,22.95), (145.95,26.4,147.75,28.35), (113.4,26.7,114.6,28.05), (113.4,26.85,114.6,28.05), (146.25,26.85,147.45,28.05)])
R(comp4_ge, via2, [(-1.65,-27,-1.05,-26.4), (152.1,-27,152.7,-26.4), (99.3,-24.15,99.9,-23.55), (128.1,-24.15,128.7,-23.55), (15.3,-22.65,15.9,-22.05), (39.3,-22.65,39.9,-22.05), (48.9,-22.5,49.5,-21.9), (82.5,-22.5,83.1,-21.9), (104.25,-15.9,104.85,-15.3), (159.3,-15.75,159.9,-15.15), (149.7,-5.25,150.3,-4.65), (178.05,-5.1,178.65,-4.5), (58.5,-0.3,59.1,0.3), (146.55,0,147.15,0.6), (157.05,2.55,157.65,3.15), (154.5,5.4,155.1,6), (8.1,5.85,8.7,6.45), (-15.9,15.15,-15.3,15.75), (12.9,15.15,13.5,15.75), (53.7,15.15,54.3,15.75), (92.1,15.15,92.7,15.75), (137.55,15.15,138.15,15.75), (24.9,18.75,25.5,19.35), (51.3,19.05,51.9,19.65), (94.5,19.05,95.1,19.65), (140.4,19.05,141,19.65), (68.1,22.05,68.7,22.65), (96.9,22.05,97.5,22.65), (142.8,22.05,143.4,22.65), (113.7,27.15,114.3,27.75), (146.55,27.15,147.15,27.75)])
R(comp4_ge, metal3, [(-1.95,-27.3,-0.75,-26.1), (-1.95,-27.3,28.65,-26.1), (27.45,-27.3,153,-26.1), (151.8,-27.3,153,-26.1), (99,-24.45,100.2,-23.25), (99,-24.45,102.9,-23.25), (101.7,-24.45,129,-23.25), (127.8,-24.45,129,-23.25), (15,-22.95,16.2,-21.75), (15,-22.95,26.25,-21.75), (25.05,-22.95,40.2,-21.75), (39,-22.95,40.2,-21.75), (48.6,-22.8,49.8,-21.6), (48.6,-22.8,83.4,-21.6), (82.2,-22.8,83.4,-21.6), (82.2,-22.8,83.4,-21.45), (103.95,-16.2,105.15,-15), (103.95,-16.2,160.2,-15), (159,-16.2,160.2,-14.85), (159,-16.05,160.2,-14.85), (149.4,-5.55,150.6,-4.35), (149.4,-5.55,178.95,-4.35), (177.75,-5.55,178.95,-4.05), (177.75,-5.4,178.95,-4.2), (58.2,-0.6,59.4,0.6), (58.2,-0.6,59.4,0.75), (58.2,-0.6,59.4,3.6), (146.25,-0.3,147.45,0.9), (156.75,2.25,157.95,3.45), (58.2,2.4,158.1,3.6), (154.2,5.1,155.4,6.3), (154.35,5.1,155.55,6.75), (7.8,5.55,9,6.75), (7.8,5.55,155.55,6.75), (-16.2,14.85,-15,16.05), (-16.2,14.85,-4.95,16.05), (-6.15,14.85,13.8,16.05), (12.6,14.85,13.8,16.05), (12.6,14.85,54.15,16.05), (52.95,14.85,54.6,16.05), (53.4,14.85,54.6,16.05), (53.4,14.85,77.85,16.05), (76.65,14.85,93,16.05), (91.8,14.85,93,16.05), (91.8,14.85,138.45,16.05), (137.25,14.85,138.45,16.05), (24.6,18.45,25.8,19.65), (24.6,18.45,46.95,19.65), (45.75,18.45,52.2,19.65), (51,18.45,52.2,19.95), (51,18.75,52.2,19.95), (51,18.75,85.5,19.95), (84.3,18.75,94.35,19.95), (93.15,18.75,95.4,19.95), (94.2,18.75,95.4,19.95), (94.2,18.75,141.3,19.95), (140.1,18.75,141.3,19.95), (67.8,21.75,69,22.95), (67.8,21.75,93.15,22.95), (91.95,21.75,96.75,22.95), (91.95,21.75,96.75,22.95), (95.55,21.75,97.8,22.95), (96.6,21.75,97.8,22.95), (96.6,21.75,143.7,22.95), (142.5,21.75,143.7,22.95), (113.4,26.85,114.6,28.05), (113.4,26.85,145.2,28.05), (144,26.85,147.45,28.05), (146.25,26.85,147.45,28.05)])
comp4_ge.add(gdstk.Reference(and2_1x, (7.8,-16.2)))
comp4_ge.add(gdstk.Reference(and3_1x, (48.6,-16.2)))
comp4_ge.add(gdstk.Reference(and4_1x, (91.8,-16.2)))
comp4_ge.add(gdstk.Reference(and4_1x, (137.4,-16.2)))
comp4_ge.add(gdstk.Reference(bloquesito, (-6.9,-1.8)))
comp4_ge.add(gdstk.Reference(bloquesito, (33.9,-1.8)))
comp4_ge.add(gdstk.Reference(bloquesito, (77.1,-1.8)))
comp4_ge.add(gdstk.Reference(bloquesito, (122.7,-1.8)))
comp4_ge.add(gdstk.Reference(or2_1x, (170.4,-16.2)))
comp4_ge.add(gdstk.Reference(or4_1x, (152.4,-16.2)))

lib.write_gds('comp4_ge.gds')
